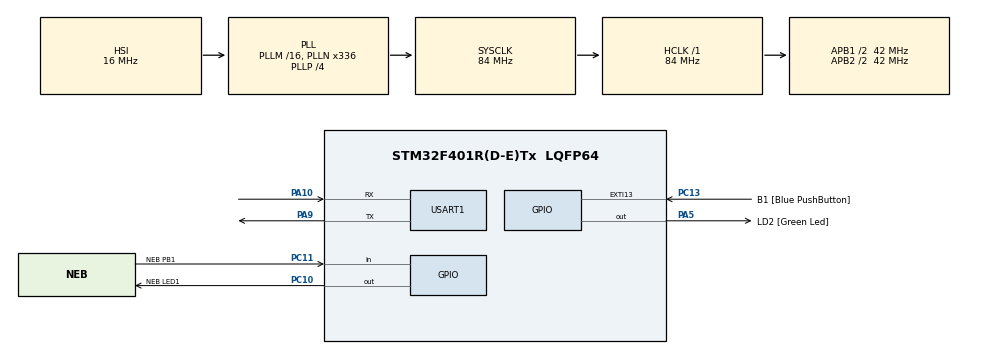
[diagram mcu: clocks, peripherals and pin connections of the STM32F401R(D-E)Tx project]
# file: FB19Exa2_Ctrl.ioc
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Mcu.Family=STM32F4
Mcu.Name=STM32F401R(D-E)Tx
Mcu.Package=LQFP64
NVIC.PriorityGroup=NVIC_PRIORITYGROUP_2
PA10.Mode=Asynchronous
PA10.Signal=USART1_RX
PA13.GPIO_Label=TMS
PA13.Mode=Serial_Wire
PA13.Signal=SYS_JTMS-SWDIO
PA14.GPIO_Label=TCK
PA14.Mode=Serial_Wire
PA14.Signal=SYS_JTCK-SWCLK
PA5.GPIO_Label=LD2 [Green Led]
PA5.GPIO_Mode=GPIO_MODE_OUTPUT_PP
PA5.GPIO_PuPd=GPIO_NOPULL
PA5.GPIO_Speed=GPIO_SPEED_FREQ_LOW
PA5.Signal=GPIO_Output
PA9.Mode=Asynchronous
PA9.Signal=USART1_TX
PB3.GPIO_Label=SWO
PB3.Signal=SYS_JTDO-SWO
PC10.GPIO_Label=NEB LED1
PC10.Signal=GPIO_Output
PC11.GPIO_Label=NEB PB1
PC11.GPIO_PuPd=GPIO_NOPULL
PC11.Signal=GPIO_Input
PC13-ANTI_TAMP.GPIO_Label=B1 [Blue PushButton]
PC13-ANTI_TAMP.GPIO_ModeDefaultEXTI=GPIO_MODE_IT_FALLING
PC13-ANTI_TAMP.GPIO_PuPd=GPIO_NOPULL
PC13-ANTI_TAMP.Signal=GPXTI13
PC14-OSC32_IN.Mode=LSE-External-Oscillator
PC14-OSC32_IN.Signal=RCC_OSC32_IN
PC15-OSC32_OUT.Mode=LSE-External-Oscillator
PC15-OSC32_OUT.Signal=RCC_OSC32_OUT
PH0\ -\ OSC_IN.Mode=HSE-External-Clock-Source
PH0\ -\ OSC_IN.Signal=RCC_OSC_IN
PH1\ -\ OSC_OUT.Mode=HSE-External-Clock-Source
PH1\ -\ OSC_OUT.Signal=RCC_OSC_OUT
ProjectManager.HeapSize=0x200
ProjectManager.StackSize=0x400
ProjectManager.TargetToolchain=STM32CubeIDE
RCC.48MHZClocksFreq_Value=48000000
RCC.AHBFreq_Value=84000000
RCC.APB1CLKDivider=RCC_HCLK_DIV2
RCC.APB1Freq_Value=42000000
RCC.APB1TimFreq_Value=84000000
RCC.APB2CLKDivider=RCC_HCLK_DIV2
RCC.APB2Freq_Value=42000000
RCC.APB2TimFreq_Value=84000000
RCC.CortexFreq_Value=84000000
RCC.HCLKFreq_Value=84000000
RCC.HSE_VALUE=8000000
RCC.HSI_VALUE=16000000
RCC.PLLN=336
RCC.PLLP=RCC_PLLP_DIV4
RCC.PLLQ=7
RCC.SYSCLKFreq_VALUE=84000000
RCC.SYSCLKSource=RCC_SYSCLKSOURCE_PLLCLK
RCC.VCOOutputFreq_Value=336000000
USART1.VirtualMode=VM_ASYNC
board=NUCLEO-F401RE

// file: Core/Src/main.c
/* USER CODE BEGIN Header */
/*
 *  Filename:       main.c
 *  Platform(s):    STM32F401x
 *  Project:        FB19Exa2_Ctrl
 *  Created:        December 06, 2023
 *  Description:    This file implements the main() function of this application.
 *
 *  Glossary:       LED:    Light Emitting Diode
 *                  NEB:    Nucleo Expansion Board for RS-232 & RS-485
 *                          communication by Bitcontrol GmbH, Switzerland,
 *                          v2.2 or higher
 *                  PB:     Push Button
 *
 *                  Responsibilities
 *                  ================
 *                  This application transmits messages as FB19 Controller
 *                  containing a 32bit number representing the status of a
 *                  single digital input (PB1 on the NEB).
 *
 *                  If the button PB1 is not pressed, the number is 0. If the
 *                  button is pressed, the number corresponds to the value of
 *                  the corresponding GPIO port register (not zero).
 *
 *                  This node expects the same number as response message from
 *                  the FB19 Subscriber.
 *
 *                  This ping-pong schema is repeated periodically twice per
 *                  second.
 *                  USART1 is used to display this process on a serial terminal.
 *
 *                  FB19 Libraries
 *                  ==============
 *                  - FB19CtrlLib
 *
 *                  Configuration
 *                  =============
 *                  FB19 Bitrate: 100kbit/s
 *                  FB19 Controller bus address: 0 (fix per specification)
 *                  FB19 Bus: RS-485 (not RS-232!)
 *                  USART1 RS-232 parameters: 115200/8/N/1
 *                  Used SoC resources:
 *                  - GPIOA, bit 7: FB19Subs RS-485 driver Data Output Enable
 *                  - GPIOC, bit 11: Digital input for sensing PB1 state
 *                  - TIM3: FB19Ctrl
 *                  - USART1 (UART1): RS-232 Terminal
 *                  - USART2 (UART2): Unused
 *                  - USART6 (UART3): FB19Ctrl
 *                  Hardware:
 *                  - Nucleo Board: Nucleo-64 STM32F401
 *                    - Factory default settings
 *                  - Nucleo Expansion Board for RS-232 & RS-485 communication
 *                    - This board contains jumpers that relate to the bus
 *                      system:
 *                      - JP4, JP5: Don't care
 *                        If pins 2 & 3 are connected, UART2 can be used as
 *                        RS-232 interface on J3
 *                      - JP6, JP7: Connect pins 1 & 2
 *                        This selects RS-485 for UART3
 *                      - JP8, JP9: Connect pins 2 & 3
 *                        This connects UART3 to J2
 *
 *  Notes:          The initial version of this file was generated using
 *                  STMicroelectronics STM32CubeMX, v6.8.0.
 *                  Bitcontrol GmbH is grateful for ST's free of charge tools
 *                  and recommends them to any programmer, from hobbyist to
 *                  professional.
 *
 *                  Local symbols and functions that are user code specific
 *                  start with my_ or MY_ respectively for easy spotting.
 *
 *  Author:         Andreas Isenegger
 *  Copyright:      2023, Bitcontrol GmbH, Switzerland.
 *                  All rights reserved.
 */
/* USER CODE END Header */
#include "main.h"

/* USER CODE BEGIN Includes */
#include <stdio.h> // For printf()

#include "FB19Ctrl.h"
#include "FB19CtrlCfg.h"
#include "FB19LibMsg.h"
/* USER CODE END Includes */

/* USER CODE BEGIN PD */
#define MY_BIT_RATE                     100000 // [bit/s]
#define MY_MAIN_LOOP_PERIOD_MS          500    // [ms]
#define MY_MESSAGE_IDENTIFIER           FB19_MSG_ID_USR_LOWEST
#define MY_SUBSCRIBER_BUS_ADDRESS       FB19_BUS_ADDR_SUBS_LOWEST
/* USER CODE END PD */

UART_HandleTypeDef huart1;

void SystemClock_Config(void);
static void MX_GPIO_Init(void);
static void MX_USART1_UART_Init(void);
/* USER CODE BEGIN PFP */
/* These convenience functions capture the different actions. */
static int myStartFB19(void);
static void myCtrlDisplayResponseMsg(void);
static void myCtrlSendToSubs(BOOL payload);
static void myWaitForTick(void);
/* USER CODE END PFP */

int main(void)
{

    /* MCU Configuration--------------------------------------------------------*/

    /* Reset of all peripherals, Initializes the Flash interface and the Systick. */
    HAL_Init();

    /* USER CODE BEGIN Init */
    __HAL_DBGMCU_FREEZE_TIM2();
    /* USER CODE END Init */

    /* Configure the system clock */
    SystemClock_Config();

    /* USER CODE BEGIN SysInit */
    HAL_SetTickFreq(HAL_TICK_FREQ_100HZ);
    /* USER CODE END SysInit */

    /* Initialize all configured peripherals */
    MX_GPIO_Init();
    MX_USART1_UART_Init();
    /* USER CODE BEGIN 2 */
    int status = myStartFB19(); // Start Controller and Subscriber instances
    if (status != R_SUCCESS)
    {
        return 1; // Terminate application, return error value
    }
    /* USER CODE END 2 */

    /* Infinite loop */
    /* USER CODE BEGIN WHILE */
    BOOL buttonPressed = FALSE;
    int rel_time_ms = 0;
    while (1)
    {
        /* Call the FB19 handler function periodically. */
        FB19Ctrl_handler(&myInstFB19Ctrl);

        if (rel_time_ms == 0)
        {
            /* Perform domain specific tasks. */
            buttonPressed = GPIOC->IDR & (1 << 11) ? FALSE : TRUE; // 3.3V when NOT pressed
            myCtrlSendToSubs(buttonPressed);
        }
        myCtrlDisplayResponseMsg();

        /* Slow this loop down as desired. */
        myWaitForTick(); // Tick frequency is 100Hz; see HAL_SetTickFreq() above
        rel_time_ms += uwTickFreq; // It's actually the period, not the frequency
        rel_time_ms %= MY_MAIN_LOOP_PERIOD_MS;
        /* USER CODE END WHILE */

        /* USER CODE BEGIN 3 */
    }
    return 0; // If ever reached
    /* USER CODE END 3 */
}

void SystemClock_Config(void)
{
  RCC_OscInitTypeDef RCC_OscInitStruct = {0};
  RCC_ClkInitTypeDef RCC_ClkInitStruct = {0};

  /** Configure the main internal regulator output voltage
  */
  __HAL_RCC_PWR_CLK_ENABLE();
  __HAL_PWR_VOLTAGESCALING_CONFIG(PWR_REGULATOR_VOLTAGE_SCALE2);

  /** Initializes the RCC Oscillators according to the specified parameters
  * in the RCC_OscInitTypeDef structure.
  */
  RCC_OscInitStruct.OscillatorType = RCC_OSCILLATORTYPE_HSI;
  RCC_OscInitStruct.HSIState = RCC_HSI_ON;
  RCC_OscInitStruct.HSICalibrationValue = RCC_HSICALIBRATION_DEFAULT;
  RCC_OscInitStruct.PLL.PLLState = RCC_PLL_ON;
  RCC_OscInitStruct.PLL.PLLSource = RCC_PLLSOURCE_HSI;
  RCC_OscInitStruct.PLL.PLLM = 16;
  RCC_OscInitStruct.PLL.PLLN = 336;
  RCC_OscInitStruct.PLL.PLLP = RCC_PLLP_DIV4;
  RCC_OscInitStruct.PLL.PLLQ = 7;
  if (HAL_RCC_OscConfig(&RCC_OscInitStruct) != HAL_OK)
  {
    Error_Handler();
  }

  /** Initializes the CPU, AHB and APB buses clocks
  */
  RCC_ClkInitStruct.ClockType = RCC_CLOCKTYPE_HCLK|RCC_CLOCKTYPE_SYSCLK
                              |RCC_CLOCKTYPE_PCLK1|RCC_CLOCKTYPE_PCLK2;
  RCC_ClkInitStruct.SYSCLKSource = RCC_SYSCLKSOURCE_PLLCLK;
  RCC_ClkInitStruct.AHBCLKDivider = RCC_SYSCLK_DIV1;
  RCC_ClkInitStruct.APB1CLKDivider = RCC_HCLK_DIV2;
  RCC_ClkInitStruct.APB2CLKDivider = RCC_HCLK_DIV2;

  if (HAL_RCC_ClockConfig(&RCC_ClkInitStruct, FLASH_LATENCY_2) != HAL_OK)
  {
    Error_Handler();
  }
}

static void MX_USART1_UART_Init(void)
{

  huart1.Instance = USART1;
  huart1.Init.BaudRate = 115200;
  huart1.Init.WordLength = UART_WORDLENGTH_8B;
  huart1.Init.StopBits = UART_STOPBITS_1;
  huart1.Init.Parity = UART_PARITY_NONE;
  huart1.Init.Mode = UART_MODE_TX_RX;
  huart1.Init.HwFlowCtl = UART_HWCONTROL_NONE;
  huart1.Init.OverSampling = UART_OVERSAMPLING_16;
  if (HAL_UART_Init(&huart1) != HAL_OK)
  {
    Error_Handler();
  }
  /* USER CODE BEGIN USART1_Init 2 */
    setvbuf(stdin, NULL, _IONBF, 0); // Disable console input buffering
  /* USER CODE END USART1_Init 2 */

}

static void MX_GPIO_Init(void)
{
  GPIO_InitTypeDef GPIO_InitStruct = {0};

  /* GPIO Ports Clock Enable */
  __HAL_RCC_GPIOC_CLK_ENABLE();
  __HAL_RCC_GPIOH_CLK_ENABLE();
  __HAL_RCC_GPIOA_CLK_ENABLE();
  __HAL_RCC_GPIOB_CLK_ENABLE();

  /*Configure GPIO pin Output Level */
  HAL_GPIO_WritePin(LD2_GPIO_Port, LD2_Pin, GPIO_PIN_RESET);

  /*Configure GPIO pin Output Level */
  HAL_GPIO_WritePin(NEB_LED1_GPIO_Port, NEB_LED1_Pin, GPIO_PIN_RESET);

  /*Configure GPIO pin : B1_Pin */
  GPIO_InitStruct.Pin = B1_Pin;
  GPIO_InitStruct.Mode = GPIO_MODE_IT_FALLING;
  GPIO_InitStruct.Pull = GPIO_NOPULL;
  HAL_GPIO_Init(B1_GPIO_Port, &GPIO_InitStruct);

  /*Configure GPIO pin : LD2_Pin */
  GPIO_InitStruct.Pin = LD2_Pin;
  GPIO_InitStruct.Mode = GPIO_MODE_OUTPUT_PP;
  GPIO_InitStruct.Pull = GPIO_NOPULL;
  GPIO_InitStruct.Speed = GPIO_SPEED_FREQ_LOW;
  HAL_GPIO_Init(LD2_GPIO_Port, &GPIO_InitStruct);

  /*Configure GPIO pin : NEB_LED1_Pin */
  GPIO_InitStruct.Pin = NEB_LED1_Pin;
  GPIO_InitStruct.Mode = GPIO_MODE_OUTPUT_PP;
  GPIO_InitStruct.Pull = GPIO_NOPULL;
  GPIO_InitStruct.Speed = GPIO_SPEED_FREQ_LOW;
  HAL_GPIO_Init(NEB_LED1_GPIO_Port, &GPIO_InitStruct);

  /*Configure GPIO pin : NEB_PB1_Pin */
  GPIO_InitStruct.Pin = NEB_PB1_Pin;
  GPIO_InitStruct.Mode = GPIO_MODE_INPUT;
  GPIO_InitStruct.Pull = GPIO_NOPULL;
  HAL_GPIO_Init(NEB_PB1_GPIO_Port, &GPIO_InitStruct);

}

/* USER CODE BEGIN 4 */
/*
 * FB19 Controller related: Displays the response message from the Subscriber if
 * available.
 */
static void myCtrlDisplayResponseMsg(void)
{
    static uint32_t noiseCharFaultCount;
    static uint32_t rxFaultCount;
    static uint32_t txFaultCount;

    int32_t buttonPressed;
    FB19Msg_t msg;
    msg.dscr.msgId = MY_MESSAGE_IDENTIFIER;
    int status;
    uint32_t tmp;

    status = FB19Ctrl_fetch(&myInstFB19Ctrl, &msg);
    // status equals R_SUCCESS if a response has been received or the response
    // has timed out. In the latter case, the error FB19_DRV_ERR_BUS_RSP_FRM_TMO
    // is set inside the message.
    if (status == R_SUCCESS)
    {
        switch (msg.dscr.errSts)
        {
        case FB19_DRV_ERR_NONE: // Message received?
            FB19LibMsg_removeInt32(&msg, &buttonPressed); // Assume success, ignore return value
            printf("FB19Ctrl rxd msg with val=%li\n", buttonPressed);
            break;
        case FB19_DRV_ERR_BUS_RSP_FRM_TMO:
            printf("FB19Ctrl response message timed out\n");
            break;
        default:
            printf("FB19Ctrl rxd msg with error=%i\n", msg.dscr.errSts);
            break;
        }
        printf("\n");
    }

    /* Display error counts if they have changed. */
    FB19Ctrl_getNoiseFaultCount(&myInstFB19Ctrl, &tmp); // Processing return value optional
    if (noiseCharFaultCount != tmp)
    {
        noiseCharFaultCount = tmp;
        printf("FB19Ctrl noise char fault count=%lu\n", noiseCharFaultCount);
    }
    FB19Ctrl_getRxFaultCount(&myInstFB19Ctrl, &tmp); // Processing return value optional
    if (rxFaultCount != tmp)
    {
        rxFaultCount = tmp;
        printf("FB19Ctrl Rx fault count=%lu\n", rxFaultCount);
    }
    FB19Ctrl_getTxFaultCount(&myInstFB19Ctrl, &tmp); // Processing return value optional
    if (txFaultCount != tmp)
    {
        txFaultCount = tmp;
        printf("FB19Ctrl Tx fault count=%lu\n", txFaultCount);
    }
}

/*
 * FB19 Controller related: Submit a request message with the provided payload
 * value for transmission to the Subscriber.
 */
static void myCtrlSendToSubs(BOOL payload)
{
    FB19Msg_t msg; // Initialize these fields for avoiding side effects
    msg.dscr.dstAddr = MY_SUBSCRIBER_BUS_ADDRESS;
    msg.dscr.msgId = MY_MESSAGE_IDENTIFIER;
    msg.dscr.pldSize = 0;

    int status;

    FB19LibMsg_appendInt32(&msg, payload); // Assume success, ignore return value
    status = FB19Ctrl_submit(&myInstFB19Ctrl, &msg);
    if (status == R_SUCCESS)
    {
        printf("FB19Ctrl_submit() succeeded with val=%i\n", payload);
    }
    else
    {
        printf("FB19Ctrl_submit() failed\n");
    }
}

static int myStartFB19(void)
{
    int status;

    printf("FB19Ctrl version: %s\n", FB19Ctrl_getVersion());
    status = FB19Ctrl_start(&myInstFB19Ctrl, &myCfgFB19Ctrl, MY_BIT_RATE);
    if (status == R_SUCCESS)
    {
        printf("FB19Ctrl_start() succeeded\n");
    }
    else
    {
        printf("FB19Ctrl_start() failed\n");
    }
    printf("\n");

    return status;
}

static void myWaitForTick(void)
{
    volatile uint32_t tickCnt = HAL_GetTick();
    while (tickCnt == HAL_GetTick());
}
/* USER CODE END 4 */

void Error_Handler(void)
{
    __disable_irq();
    while (1)
    {
    }
}
